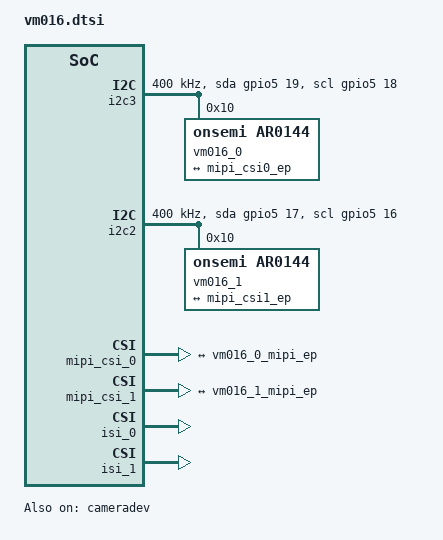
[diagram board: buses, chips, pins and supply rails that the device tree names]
&i2c3 {
	pinctrl-names = "default","gpio";
	pinctrl-0 = <&pinctrl_i2c3>;
	pinctrl-1 = <&pinctrl_i2c3_gpio>;
	sda-gpios = <&gpio5 19 (GPIO_ACTIVE_HIGH | GPIO_OPEN_DRAIN)>;
	scl-gpios = <&gpio5 18 (GPIO_ACTIVE_HIGH | GPIO_OPEN_DRAIN)>;
	clock-frequency = <400000>;
	status = "okay";

	vm016_0: camera@10 {
		reg = <0x10>;
		#address-cells = <0x1>;
		#size-cells = <0x0>;
		clocks = <&cam_clk>;
		clock-names = "ext";
		csi_id = <0>;
		compatible = "onsemi,ar0144";
		status = "okay";

		port {
			vm016_0_mipi_ep: endpoint {
				remote-endpoint = <&mipi_csi0_ep>;
				bus-type = <4>;
				data-lanes = <1 2>;
				clock-lanes = <0>;
				clock-noncontinuous = <1>;
				onsemi,t-hs-prep = <1>;
				onsemi,t-clk-post = <9>;
			};
		};
	};
};

&i2c2 {
	clock-frequency = <400000>;
	pinctrl-names = "default", "gpio";
	pinctrl-0 = <&pinctrl_i2c2>;
	pinctrl-1 = <&pinctrl_i2c2_gpio>;
	sda-gpios = <&gpio5 17 (GPIO_ACTIVE_HIGH | GPIO_OPEN_DRAIN)>;
	scl-gpios = <&gpio5 16 (GPIO_ACTIVE_HIGH | GPIO_OPEN_DRAIN)>;
	status = "okay";

	vm016_1: camera@10 {
		reg = <0x10>;
		#address-cells = <0x1>;
		#size-cells = <0x0>;
		clocks = <&cam_clk>;
		clock-names = "ext";
		compatible = "onsemi,ar0144";
		status = "okay";

		port {
			reg = <0>;

			vm016_1_mipi_ep: endpoint {
				remote-endpoint = <&mipi_csi1_ep>;
				bus-type = <4>;
				data-lanes = <1 2>;
				clock-lanes = <0>;
				clock-noncontinuous = <1>;
				onsemi,t-hs-prep = <1>;
				onsemi,t-clk-post = <9>;
			};
		};
	};
};

/* mipi csi2 - cam1 */
&mipi_csi_0 {
	#address-cells = <1>;
	#size-cells = <0>;
	status = "okay";

	port@0 {
		reg = <0>;
		mipi_csi0_ep: endpoint {
			remote-endpoint = <&vm016_0_mipi_ep>;
			data-lanes = <2>;
		};
	};
};

/* mipi csi2 - cam2 */
&mipi_csi_1 {
	#address-cells = <1>;
	#size-cells = <0>;
	status = "okay";

	port@1 {
		reg = <1>;
		mipi_csi1_ep: endpoint {
			remote-endpoint = <&vm016_1_mipi_ep>;
			data-lanes = <2>;
		};
	};
};

&cameradev {
	status = "okay";
};

&isi_0 {
	status = "okay";

	cap_device {
		status = "okay";
	};
};

&isi_1 {
	status = "okay";

	cap_device {
		status = "okay";
	};
};

